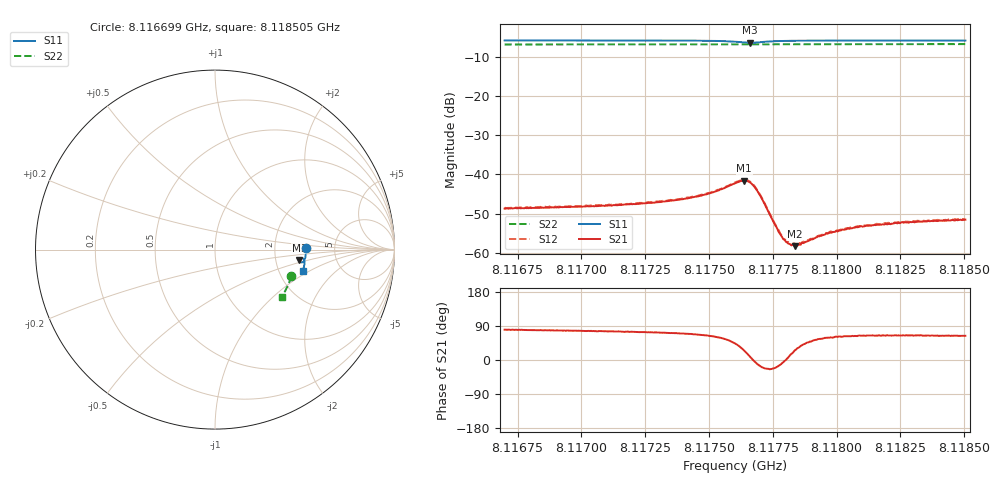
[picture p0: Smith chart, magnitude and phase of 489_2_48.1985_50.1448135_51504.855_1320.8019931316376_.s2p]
#  HZ  S  RI  R  50.00
! Rohde & Schwarz Vector Network Analyzer
! Rohde-Schwarz,ZNB20-2Port,1311601062101988,3.16
! Created: UTC 3/20/2024, 11:57:59 AM
! freq[Hz]  re:S11  im:S11  re:S21  im:S21  re:S12  im:S12  re:S22  im:S22
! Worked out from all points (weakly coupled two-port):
!   401 points, 8.116699 GHz to 8.118505 GHz, reference 50 ohm
!   highest |S21| = -41.62 dB at 8.117638 GHz (marker M1); lowest = -58.3 dB at 8.117837 GHz (marker M2)
!   lowest |S11| = -6.5 dB at 8.117661 GHz (marker M3), VSWR 2.80, Z = 136 - j20.5 ohm
!   |S11| at or under -10 dB: nowhere
!   |S22| runs from -6.9 to -6.8 dB; largest |S21 - S12| = 0.00023
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8.1166994e9  0.5068 0.00701  0.000633 0.0036  0.000682 0.00371  0.4254 -0.1485
8.1170018e9  0.5061 -0.0165  0.000867 0.00376  0.000965 0.00382  0.4187 -0.1685
8.1173043e9  0.5036 -0.0412  0.00134 0.00422  0.00139 0.00429  0.411 -0.1883
8.1173945e9  0.5021 -0.0495  0.00166 0.00452  0.0017 0.00461  0.4087 -0.1941
8.1174803e9  0.4991 -0.0584  0.00228 0.00498  0.00233 0.00507  0.4061 -0.1996
8.117539e9  0.4948 -0.0653  0.00318 0.00539  0.00326 0.00545  0.4043 -0.2034
8.1176022e9  0.4834 -0.0712  0.00556 0.00532  0.00573 0.0054  0.4018 -0.2074
8.1176383e9  0.4727 -0.0668  0.00753 0.00347  0.0077 0.00353  0.4004 -0.2093
8.1176608e9  0.4697 -0.0582  0.0078 0.0012  0.00799 0.00119  0.3997 -0.2101
8.1176789e9  0.4725 -0.0512  0.00687 -0.000501  0.00705 -0.000563  0.3994 -0.2109
8.1176969e9  0.4784 -0.0474  0.00543 -0.00142  0.00557 -0.00151  0.3992 -0.212
8.1177647e9  0.4943 -0.0531  0.00201 -0.000682  0.00202 -0.000711  0.3979 -0.2165
8.1177872e9  0.4962 -0.0565  0.00156 -0.000219  0.00161 -0.000263  0.3973 -0.218
8.1178143e9  0.4976 -0.0604  0.00129 0.000214  0.00129 0.000226  0.3966 -0.2198
8.1178369e9  0.4983 -0.0633  0.00109 0.00053  0.00119 0.000542  0.3958 -0.2212
8.1178549e9  0.4986 -0.0654  0.00105 0.000717  0.00111 0.000746  0.3953 -0.2225
8.1179046e9  0.4989 -0.071  0.000948 0.00114  0.00093 0.00117  0.3937 -0.2255
8.1179813e9  0.4985 -0.0785  0.000921 0.00155  0.000916 0.00161  0.3911 -0.2305
8.1180355e9  0.4981 -0.0834  0.000913 0.00177  0.000953 0.00182  0.3894 -0.2339
8.1181212e9  0.4968 -0.0907  0.000952 0.00199  0.000971 0.00203  0.3864 -0.2391
8.118207e9  0.4956 -0.0976  0.001 0.00211  0.00103 0.00214  0.3834 -0.2443
8.1185049e9  0.4906 -0.1203  0.00116 0.00237  0.00116 0.00242  0.3726 -0.2622
